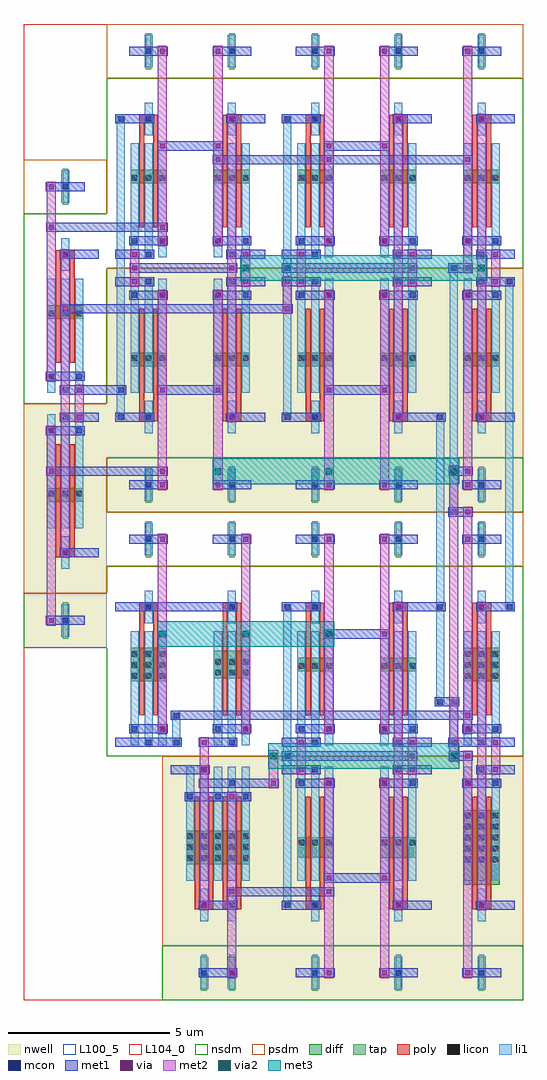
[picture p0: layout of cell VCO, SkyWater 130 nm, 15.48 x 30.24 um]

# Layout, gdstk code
import gdstk
lib = gdstk.Library(unit=1e-6, precision=1e-09)
def R(c, l, rs):  # rectangles x0, y0, x1, y1
    for r in rs: c.add(gdstk.rectangle(r[:2], r[2:], *l))
def A(c, l, x, y, w, h, nx, ny, dx, dy):  # array of equal rectangles
    R(c, l, [(x+i*dx, y+j*dy, x+i*dx+w, y+j*dy+h) for i in range(nx) for j in range(ny)])
nwell = (64, 20)
diff = (65, 20)
tap = (65, 44)
poly = (66, 20)
licon = (66, 44)
li1 = (67, 20)
mcon = (67, 44)
met1 = (68, 20)
via = (68, 44)
met2 = (69, 20)
via2 = (69, 44)
met3 = (70, 20)
nsdm = (93, 44)
psdm = (94, 20)
L100_5 = (100, 5)
L104_0 = (104, 0)

vco = lib.new_cell('VCO')
A(vco, nwell, 7.74, 0, 2.58, 7.56, 3, 1, 2.58, 0)
A(vco, nwell, 2.58, 15.12, 2.58, 7.56, 5, 1, 2.58, 0)
R(vco, nwell, [(4.3,0,7.74,7.56), (0,10.92,2.58,18.48)])
A(vco, diff, 3.315, 19.635, 1.11, 0.42, 5, 2, 2.58, 5.67)
R(vco, diff, [(13.635,3.57,14.745,5.88), (5.035,4.2,7.005,5.25), (8.475,4.41,9.585,5.04), (11.055,4.41,12.165,5.04), (3.315,9.87,4.425,10.92), (13.635,9.87,14.745,10.92), (5.895,9.975,7.005,10.815), (8.475,10.185,9.585,10.605), (11.055,10.185,12.165,10.605), (0.735,15.435,1.845,15.855), (0.735,21.105,1.845,21.525)])
A(vco, tap, 6.365, 0.28, 0.17, 1.12, 4, 1, 2.58, 0)
A(vco, tap, 3.785, 13.72, 0.17, 1.12, 5, 2, 2.58, 1.68)
A(vco, tap, 3.785, 28.84, 0.17, 1.12, 5, 1, 2.58, 0)
R(vco, tap, [(5.505,0.28,5.675,1.4), (1.205,11.2,1.375,12.32), (1.205,24.64,1.375,25.76)])
A(vco, poly, 6.16, 2.805, 0.58, 0.27, 4, 1, 2.58, 0)
A(vco, poly, 5.3, 2.94, 0.15, 3.36, 4, 1, 0.43, 0)
A(vco, poly, 3.58, 12.045, 0.58, 0.27, 5, 2, 2.58, 5.88)
A(vco, poly, 3.58, 27.165, 0.58, 0.27, 5, 1, 2.58, 0)
R(vco, poly, [(5.3,2.805,5.88,3.075), (8.74,2.94,8.89,6.3), (9.17,2.94,9.32,6.3), (11.32,2.94,11.47,6.3), (11.75,2.94,11.9,6.3), (13.9,2.94,14.05,6.3), (14.33,2.94,14.48,6.3), (3.58,8.82,3.73,12.18), (4.01,8.82,4.16,12.18), (6.16,8.82,6.31,12.18), (6.59,8.82,6.74,12.18), (8.74,8.82,8.89,12.18), (9.17,8.82,9.32,12.18), (11.32,8.82,11.47,12.18), (11.75,8.82,11.9,12.18), (13.9,8.82,14.05,12.18), (14.33,8.82,14.48,12.18), (1,13.725,1.58,13.995), (1,13.86,1.15,17.22), (1.43,13.86,1.58,17.22), (3.58,18.06,3.73,21.42), (4.01,18.06,4.16,21.42), (6.16,18.06,6.31,21.42), (6.59,18.06,6.74,21.42), (8.74,18.06,8.89,21.42), (9.17,18.06,9.32,21.42), (11.32,18.06,11.47,21.42), (11.75,18.06,11.9,21.42), (13.9,18.06,14.05,21.42), (14.33,18.06,14.48,21.42), (1,19.74,1.15,23.1), (1.43,19.74,1.58,23.1), (1,22.965,1.58,23.235), (3.58,23.94,3.73,27.3), (4.01,23.94,4.16,27.3), (6.16,23.94,6.31,27.3), (6.59,23.94,6.74,27.3), (8.74,23.94,8.89,27.3), (9.17,23.94,9.32,27.3), (11.32,23.94,11.47,27.3), (11.75,23.94,11.9,27.3), (13.9,23.94,14.05,27.3), (14.33,23.94,14.48,27.3)])
A(vco, licon, 6.365, 0.755, 0.17, 0.17, 4, 2, 2.58, 2.1)
A(vco, licon, 13.675, 4.27, 0.17, 0.17, 3, 5, 0.43, 0.34)
A(vco, licon, 5.075, 4.32, 0.17, 0.17, 3, 3, 0.43, 0.34)
A(vco, licon, 5.935, 4.32, 0.17, 0.17, 3, 3, 0.43, 0.34)
A(vco, licon, 8.515, 4.79, 0.17, 0.17, 3, 2, 0.43, 5.475)
A(vco, licon, 11.095, 4.79, 0.17, 0.17, 3, 2, 0.43, 5.475)
A(vco, licon, 3.355, 9.95, 0.17, 0.17, 3, 3, 0.43, 0.34)
A(vco, licon, 13.675, 9.95, 0.17, 0.17, 3, 3, 0.43, 0.34)
A(vco, licon, 5.935, 10.055, 0.17, 0.17, 3, 2, 0.43, 0.34)
A(vco, licon, 3.785, 12.095, 0.17, 0.17, 5, 2, 2.58, 2.1)
A(vco, licon, 0.775, 15.605, 0.17, 0.17, 3, 2, 0.43, 5.58)
A(vco, licon, 3.785, 15.875, 0.17, 0.17, 5, 2, 2.58, 2.1)
A(vco, licon, 3.355, 19.805, 0.17, 0.17, 3, 2, 0.43, 5.58)
A(vco, licon, 5.935, 19.805, 0.17, 0.17, 3, 2, 0.43, 5.58)
A(vco, licon, 8.515, 19.805, 0.17, 0.17, 3, 2, 0.43, 5.58)
A(vco, licon, 11.095, 19.805, 0.17, 0.17, 3, 2, 0.43, 5.58)
A(vco, licon, 13.675, 19.805, 0.17, 0.17, 3, 2, 0.43, 5.58)
A(vco, licon, 3.785, 27.215, 0.17, 0.17, 5, 2, 2.58, 2.1)
R(vco, licon, [(5.505,0.755,5.675,0.925), (5.505,2.855,5.675,3.025), (1.205,11.675,1.375,11.845), (1.205,13.775,1.375,13.945), (1.205,23.015,1.375,23.185), (1.205,25.115,1.375,25.285)])
A(vco, li1, 6.325, 0.335, 0.25, 1.01, 4, 2, 2.58, 2.1)
A(vco, li1, 5.035, 3.695, 0.25, 3.53, 5, 1, 0.43, 0)
A(vco, li1, 8.475, 3.695, 0.25, 3.53, 3, 2, 0.43, 4.2)
A(vco, li1, 11.055, 3.695, 0.25, 3.53, 3, 2, 0.43, 4.2)
A(vco, li1, 13.635, 3.695, 0.25, 3.53, 3, 2, 0.43, 4.2)
A(vco, li1, 3.315, 7.895, 0.25, 3.53, 3, 2, 0.43, 10.92)
A(vco, li1, 5.895, 7.895, 0.25, 3.53, 3, 2, 0.43, 10.92)
A(vco, li1, 3.745, 11.675, 0.25, 1.01, 5, 2, 2.58, 2.1)
A(vco, li1, 0.735, 14.615, 0.25, 3.53, 3, 2, 0.43, 4.2)
A(vco, li1, 3.745, 15.455, 0.25, 1.01, 5, 2, 2.58, 2.1)
A(vco, li1, 8.475, 18.815, 0.25, 3.53, 3, 2, 0.43, 4.2)
A(vco, li1, 11.055, 18.815, 0.25, 3.53, 3, 2, 0.43, 4.2)
A(vco, li1, 13.635, 18.815, 0.25, 3.53, 3, 2, 0.43, 4.2)
A(vco, li1, 3.315, 23.015, 0.25, 3.53, 3, 1, 0.43, 0)
A(vco, li1, 5.895, 23.015, 0.25, 3.53, 3, 1, 0.43, 0)
A(vco, li1, 3.745, 26.795, 0.25, 1.01, 5, 2, 2.58, 2.1)
R(vco, li1, [(5.465,0.335,5.715,1.345), (5.465,2.435,5.715,3.445), (8.045,2.855,8.295,12.265), (4.605,7.895,4.855,8.905), (13.205,7.895,13.455,9.325), (12.775,9.155,13.025,18.145), (1.165,11.255,1.415,12.265), (14.925,12.095,15.175,22.345), (1.165,13.355,1.415,14.365), (13.205,15.035,13.455,22.765), (2.885,17.975,3.135,27.385), (8.045,17.975,8.295,27.385), (1.165,22.595,1.415,23.605), (1.165,24.695,1.415,25.705)])
A(vco, mcon, 6.365, 0.755, 0.17, 0.17, 4, 1, 2.58, 0)
A(vco, mcon, 8.085, 2.855, 0.17, 0.17, 1, 3, 0, 4.62)
A(vco, mcon, 8.945, 2.855, 0.17, 0.17, 3, 2, 2.58, 4.2)
A(vco, mcon, 5.075, 6.215, 0.17, 0.17, 3, 1, 0.86, 0)
A(vco, mcon, 6.365, 7.895, 0.17, 0.17, 3, 1, 2.58, 0)
A(vco, mcon, 11.525, 12.095, 0.17, 0.17, 3, 2, 1.29, 5.88)
A(vco, mcon, 3.785, 14.195, 0.17, 0.17, 5, 2, 2.58, 1.68)
A(vco, mcon, 8.085, 17.975, 0.17, 0.17, 1, 3, 0, 4.62)
A(vco, mcon, 3.785, 22.175, 0.17, 0.17, 5, 2, 2.58, 7.14)
A(vco, mcon, 1.205, 23.015, 0.17, 0.17, 6, 1, 2.58, 0)
A(vco, mcon, 8.945, 27.215, 0.17, 0.17, 3, 1, 2.58, 0)
R(vco, mcon, [(5.505,0.755,5.675,0.925), (5.505,2.855,5.675,3.025), (6.365,2.855,6.535,3.025), (6.365,6.635,6.535,6.805), (8.515,6.635,8.685,6.805), (9.375,6.635,9.545,6.805), (11.095,6.635,11.265,6.805), (11.955,6.635,12.125,6.805), (13.675,6.635,13.845,6.805), (14.535,6.635,14.705,6.805), (5.505,7.055,5.675,7.225), (3.785,7.895,3.955,8.065), (4.645,7.895,4.815,8.065), (13.245,7.895,13.415,8.065), (14.105,7.895,14.275,8.065), (3.355,8.315,3.525,8.485), (4.215,8.315,4.385,8.485), (5.935,8.315,6.105,8.485), (6.795,8.315,6.965,8.485), (8.515,8.315,8.685,8.485), (9.375,8.315,9.545,8.485), (11.095,8.315,11.265,8.485), (11.955,8.315,12.125,8.485), (13.675,8.315,13.845,8.485), (14.535,8.315,14.705,8.485), (4.645,8.735,4.815,8.905), (12.815,9.155,12.985,9.325), (13.245,9.155,13.415,9.325), (1.205,11.675,1.375,11.845), (3.785,12.095,3.955,12.265), (6.365,12.095,6.535,12.265), (8.945,12.095,9.115,12.265), (14.965,12.095,15.135,12.265), (1.205,13.775,1.375,13.945), (13.245,15.035,13.415,15.205), (0.775,17.555,0.945,17.725), (1.635,17.555,1.805,17.725), (1.205,17.975,1.375,18.145), (2.925,17.975,3.095,18.145), (3.785,17.975,3.955,18.145), (6.365,17.975,6.535,18.145), (8.945,17.975,9.115,18.145), (1.205,18.815,1.375,18.985), (2.925,18.815,3.095,18.985), (0.775,19.235,0.945,19.405), (1.635,19.235,1.805,19.405), (3.355,21.755,3.525,21.925), (4.215,21.755,4.385,21.925), (5.935,21.755,6.105,21.925), (6.795,21.755,6.965,21.925), (8.515,21.755,8.685,21.925), (9.375,21.755,9.545,21.925), (11.095,21.755,11.265,21.925), (11.955,21.755,12.125,21.925), (13.675,21.755,13.845,21.925), (14.535,21.755,14.705,21.925), (14.965,22.175,15.135,22.345), (13.245,22.595,13.415,22.765), (3.355,23.435,3.525,23.605), (4.215,23.435,4.385,23.605), (5.935,23.435,6.105,23.605), (6.795,23.435,6.965,23.605), (8.515,23.435,8.685,23.605), (9.375,23.435,9.545,23.605), (11.095,23.435,11.265,23.605), (11.955,23.435,12.125,23.605), (13.675,23.435,13.845,23.605), (14.535,23.435,14.705,23.605), (1.205,25.115,1.375,25.285), (2.925,27.215,3.095,27.385), (3.785,27.215,3.955,27.385), (6.365,27.215,6.535,27.385)])
A(vco, met1, 8.43, 0.7, 1.2, 0.28, 3, 2, 2.58, 5.88)
A(vco, met1, 9.3, 3.64, 2.04, 0.28, 1, 4, 0, 7.56)
A(vco, met1, 4.56, 7, 1.2, 0.28, 3, 1, 3.44, 0)
A(vco, met1, 3.27, 8.26, 1.2, 0.28, 5, 2, 2.58, 5.88)
A(vco, met1, 3.27, 15.82, 1.2, 0.28, 5, 2, 2.58, 5.88)
A(vco, met1, 3.27, 23.38, 1.2, 0.28, 5, 2, 2.58, 5.88)
R(vco, met1, [(5.42,0.7,6.62,0.98), (5.42,2.8,6.62,3.08), (8,2.8,9.2,3.08), (11.44,2.8,12.64,3.08), (14.02,2.8,15.22,3.08), (6.29,3.22,9.62,3.5), (4.99,6.16,7.05,6.44), (5.42,6.58,7.9,6.86), (14.02,7,15.22,7.28), (8,7.42,12.2,7.7), (13.17,7.42,13.92,7.7), (2.84,7.84,4.9,8.12), (5.42,7.84,6.62,8.12), (8,7.84,9.2,8.12), (11.44,7.84,12.64,8.12), (13.16,7.84,15.22,8.12), (4.56,8.68,13.92,8.96), (12.73,9.1,13.5,9.38), (0.69,11.62,1.89,11.9), (2.84,12.04,6.62,12.32), (8,12.04,9.2,12.32), (11.44,12.04,13.07,12.32), (14.02,12.04,15.22,12.32), (1.12,13.72,2.32,14), (13.16,14.98,13.92,15.26), (0.7,16.24,4.46,16.52), (13.17,16.24,13.92,16.52), (0.69,17.5,1.89,17.78), (1.12,17.92,2.32,18.2), (2.84,17.92,4.04,18.2), (6.28,17.92,7.48,18.2), (8,17.92,9.2,18.2), (11.44,17.92,13.07,18.2), (14.02,17.92,15.22,18.2), (1.12,18.76,3.18,19.04), (4.14,18.76,6.18,19.04), (0.69,19.18,1.89,19.46), (1.13,21.28,8.33,21.56), (2.84,22.12,4.04,22.4), (6.28,22.12,7.48,22.4), (8,22.12,9.2,22.4), (11.44,22.12,12.64,22.4), (14.02,22.12,15.22,22.4), (3.28,22.54,6.61,22.82), (8,22.54,12.2,22.82), (13.16,22.54,13.92,22.82), (1.12,22.96,2.32,23.24), (2.84,22.96,4.04,23.24), (6.28,22.96,7.48,23.24), (8,22.96,9.2,23.24), (11.44,22.96,12.64,23.24), (14.02,22.96,15.22,23.24), (0.7,23.8,4.46,24.08), (0.69,25.06,1.89,25.34), (5.86,25.9,13.92,26.18), (4.14,26.32,6.18,26.6), (2.84,27.16,4.04,27.44), (6.28,27.16,7.48,27.44), (8,27.16,9.2,27.44), (11.44,27.16,12.64,27.44), (14.02,27.16,15.22,27.44)])
A(vco, via, 7.665, 6.645, 0.15, 0.15, 3, 1, 1.72, 0)
A(vco, via, 13.685, 6.645, 0.15, 0.15, 1, 3, 0, 0.84)
A(vco, via, 11.965, 7.065, 0.15, 0.15, 1, 3, 0, 0.42)
A(vco, via, 4.225, 8.325, 0.15, 0.15, 3, 2, 2.58, 5.88)
A(vco, via, 11.105, 8.325, 0.15, 0.15, 1, 3, 0, 2.94)
A(vco, via, 13.685, 14.205, 0.15, 0.15, 1, 3, 0, 0.84)
A(vco, via, 5.945, 15.885, 0.15, 0.15, 1, 3, 0, 2.94)
A(vco, via, 9.385, 15.885, 0.15, 0.15, 1, 3, 0, 2.94)
A(vco, via, 11.105, 15.885, 0.15, 0.15, 1, 3, 0, 2.94)
A(vco, via, 6.375, 17.985, 0.15, 0.15, 1, 3, 0, 4.62)
A(vco, via, 13.685, 21.765, 0.15, 0.15, 1, 3, 0, 0.84)
A(vco, via, 3.365, 22.185, 0.15, 0.15, 1, 3, 0, 0.42)
A(vco, via, 11.965, 22.185, 0.15, 0.15, 1, 3, 0, 0.42)
A(vco, via, 11.105, 23.445, 0.15, 0.15, 1, 3, 0, 2.94)
R(vco, via, [(6.375,0.765,6.525,0.915), (9.385,0.765,9.535,0.915), (11.105,0.765,11.255,0.915), (13.685,0.765,13.835,0.915), (5.515,2.865,5.665,3.015), (11.535,2.865,11.685,3.015), (14.115,2.865,14.265,3.015), (6.375,3.285,6.525,3.435), (9.385,3.285,9.535,3.435), (9.385,3.705,9.535,3.855), (11.105,3.705,11.255,3.855), (6.375,6.225,6.525,6.375), (5.515,7.065,5.665,7.215), (8.525,7.065,8.675,7.215), (14.545,7.065,14.695,7.215), (13.255,7.485,13.405,7.635), (5.515,7.905,5.665,8.055), (8.525,7.905,8.675,8.055), (14.545,7.905,14.695,8.055), (13.685,8.745,13.835,8.895), (9.385,11.265,9.535,11.415), (0.785,11.685,0.935,11.835), (11.535,12.105,11.685,12.255), (14.115,12.105,14.265,12.255), (1.215,13.785,1.365,13.935), (4.225,15.885,4.375,16.035), (0.785,16.305,0.935,16.455), (4.225,16.305,4.375,16.455), (13.255,16.305,13.405,16.455), (13.685,16.305,13.835,16.455), (0.785,17.565,0.935,17.715), (1.645,17.985,1.795,18.135), (11.535,17.985,11.685,18.135), (14.115,17.985,14.265,18.135), (1.645,18.825,1.795,18.975), (4.225,18.825,4.375,18.975), (0.785,19.245,0.935,19.395), (1.215,21.345,1.365,21.495), (8.095,21.345,8.245,21.495), (4.225,21.765,4.375,21.915), (6.805,22.185,6.955,22.335), (8.095,22.185,8.245,22.335), (8.525,22.185,8.675,22.335), (14.545,22.185,14.695,22.335), (1.215,23.025,1.365,23.175), (6.805,23.025,6.955,23.175), (8.525,23.025,8.675,23.175), (14.545,23.025,14.695,23.175), (4.225,23.445,4.375,23.595), (5.945,23.445,6.095,23.595), (9.385,23.445,9.535,23.595), (0.785,23.865,0.935,24.015), (4.225,23.865,4.375,24.015), (0.785,25.125,0.935,25.275), (5.945,25.965,6.095,26.115), (9.385,25.965,9.535,26.115), (13.685,25.965,13.835,26.115), (4.225,26.385,4.375,26.535), (5.945,26.385,6.095,26.535), (9.385,26.385,9.535,26.535), (11.535,27.225,11.685,27.375), (14.115,27.225,14.265,27.375), (4.225,29.325,4.375,29.475), (5.945,29.325,6.095,29.475), (9.385,29.325,9.535,29.475), (13.685,29.325,13.835,29.475)])
A(vco, met2, 11.04, 0.68, 0.28, 6.2, 1, 4, 0, 7.56)
A(vco, met2, 4.16, 8.24, 0.28, 6.2, 3, 1, 2.58, 0)
R(vco, met2, [(6.31,0.68,6.59,6.46), (9.32,0.68,9.6,6.88), (13.62,0.68,13.9,7.72), (5.45,2.78,5.73,8.14), (11.47,2.78,11.75,12.34), (14.05,2.78,14.33,12.34), (7.6,6.56,7.88,7.745), (8.46,6.98,8.74,8.14), (11.9,6.98,12.18,8.14), (14.48,6.98,14.76,8.14), (13.19,7.375,13.47,16.565), (13.62,8.24,13.9,15.28), (0.72,11.6,1,17.8), (1.15,13.7,1.43,23.26), (4.16,15.8,4.44,22), (5.88,15.8,6.16,22), (9.32,15.8,9.6,22), (13.62,15.8,13.9,22), (1.58,17.9,1.86,19.06), (6.31,17.9,6.59,27.46), (11.47,17.9,11.75,27.46), (14.05,17.9,14.33,27.46), (0.72,19.16,1,25.36), (8.03,21.26,8.31,22.42), (3.3,22.1,3.58,23.26), (6.74,22.1,7.02,23.26), (8.46,22.1,8.74,23.26), (11.9,22.1,12.18,23.26), (14.48,22.1,14.76,23.26), (13.62,22.52,13.9,29.56), (4.16,23.36,4.44,29.56), (5.88,23.36,6.16,29.56), (9.32,23.36,9.6,29.56)])
A(vco, via2, 4.2, 11.24, 0.2, 0.2, 3, 1, 2.58, 0)
R(vco, via2, [(7.64,7.46,7.84,7.66), (13.23,7.46,13.43,7.66), (5.92,16.28,6.12,16.48), (9.36,16.28,9.56,16.48), (13.23,16.28,13.43,16.48), (6.78,22.58,6.98,22.78), (14.09,22.58,14.29,22.78)])
R(vco, met3, [(7.575,7.16,13.495,7.96), (4.135,10.94,9.625,11.74), (5.855,15.98,13.495,16.78), (6.715,22.28,14.355,23.08)])
A(vco, nsdm, 7.74, 0, 2.58, 1.68, 3, 1, 2.58, 0)
A(vco, nsdm, 2.58, 7.56, 2.58, 5.88, 5, 2, 2.58, 15.12)
A(vco, nsdm, 2.58, 15.12, 2.58, 1.68, 5, 1, 2.58, 0)
R(vco, nsdm, [(4.3,0,7.74,1.68), (0,10.92,2.58,12.6), (0,18.48,2.58,24.36)])
A(vco, psdm, 7.74, 1.68, 2.58, 5.88, 3, 1, 2.58, 0)
A(vco, psdm, 2.58, 13.44, 2.58, 1.68, 5, 2, 2.58, 15.12)
A(vco, psdm, 2.58, 16.8, 2.58, 5.88, 5, 1, 2.58, 0)
R(vco, psdm, [(4.3,1.68,7.74,7.56), (0,12.6,2.58,18.48), (0,24.36,2.58,26.04)])
R(vco, L100_5, [(0,0,15.48,30.24)])
R(vco, L104_0, [(0,0,15.48,30.24)])

lib.write_gds('VCO.gds')
